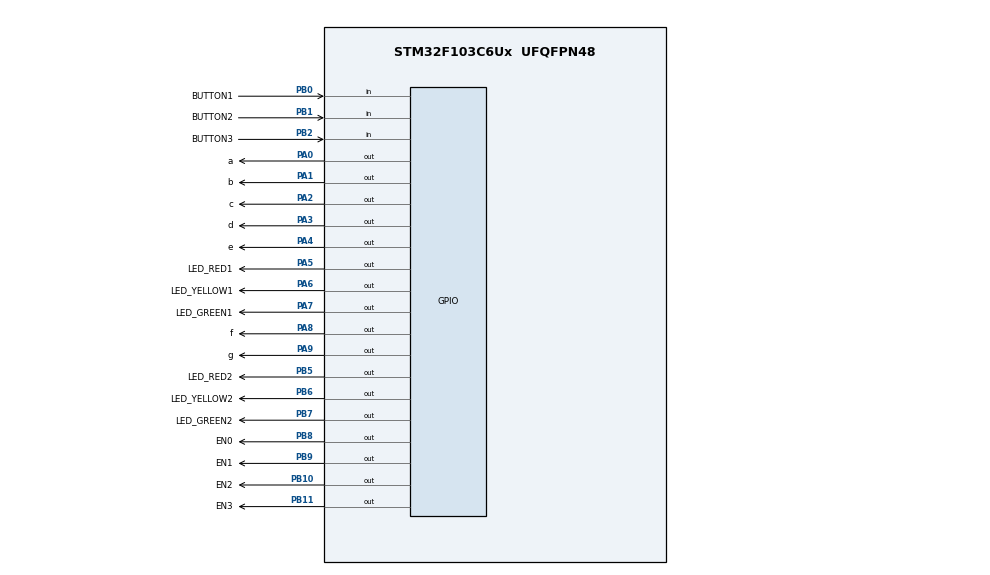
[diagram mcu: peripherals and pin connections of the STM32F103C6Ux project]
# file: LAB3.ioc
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Mcu.Family=STM32F1
Mcu.Name=STM32F103C6Ux
Mcu.Package=UFQFPN48
NVIC.PriorityGroup=NVIC_PRIORITYGROUP_4
NVIC.TIM2_IRQn=true\:15\:0\:false\:false\:true\:true\:true
PA0-WKUP.GPIO_Label=a
PA0-WKUP.Signal=GPIO_Output
PA1.GPIO_Label=b
PA1.Signal=GPIO_Output
PA13.Mode=Serial_Wire
PA13.Signal=SYS_JTMS-SWDIO
PA14.Mode=Serial_Wire
PA14.Signal=SYS_JTCK-SWCLK
PA2.GPIO_Label=c
PA2.Signal=GPIO_Output
PA3.GPIO_Label=d
PA3.Signal=GPIO_Output
PA4.GPIO_Label=e
PA4.Signal=GPIO_Output
PA5.GPIO_Label=LED_RED1
PA5.Signal=GPIO_Output
PA6.GPIO_Label=LED_YELLOW1
PA6.Signal=GPIO_Output
PA7.GPIO_Label=LED_GREEN1
PA7.Signal=GPIO_Output
PA8.GPIO_Label=f
PA8.Signal=GPIO_Output
PA9.GPIO_Label=g
PA9.Signal=GPIO_Output
PB0.GPIO_Label=BUTTON1
PB0.GPIO_PuPd=GPIO_PULLUP
PB0.Signal=GPIO_Input
PB1.GPIO_Label=BUTTON2
PB1.GPIO_PuPd=GPIO_PULLUP
PB1.Signal=GPIO_Input
PB10.GPIO_Label=EN2
PB10.Signal=GPIO_Output
PB11.GPIO_Label=EN3
PB11.Signal=GPIO_Output
PB2.GPIO_Label=BUTTON3
PB2.GPIO_PuPd=GPIO_PULLUP
PB2.Signal=GPIO_Input
PB5.GPIO_Label=LED_RED2
PB5.Signal=GPIO_Output
PB6.GPIO_Label=LED_YELLOW2
PB6.Signal=GPIO_Output
PB7.GPIO_Label=LED_GREEN2
PB7.Signal=GPIO_Output
PB8.GPIO_Label=EN0
PB8.Signal=GPIO_Output
PB9.GPIO_Label=EN1
PB9.Signal=GPIO_Output
ProjectManager.HeapSize=0x200
ProjectManager.StackSize=0x400
ProjectManager.TargetToolchain=STM32CubeIDE
RCC.APB1Freq_Value=8000000
RCC.APB2Freq_Value=8000000
TIM2.Period=9
TIM2.Prescaler=7999
VP_TIM2_VS_ClockSourceINT.Mode=Internal
board=custom

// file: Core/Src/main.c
/* USER CODE BEGIN Header */
/**
  ******************************************************************************
  * @file           : main.c
  * @brief          : Main program body
  ******************************************************************************
  * @attention
  *
  * <h2><center>&copy; Copyright (c) 2023 STMicroelectronics.
  * All rights reserved.</center></h2>
  *
  * This software component is licensed by ST under BSD 3-Clause license,
  * the "License"; You may not use this file except in compliance with the
  * License. You may obtain a copy of the License at:
  *                        opensource.org/licenses/BSD-3-Clause
  *
  ******************************************************************************
  */
/* USER CODE END Header */
#include "main.h"

/* USER CODE BEGIN Includes */
#include "global.h"
#include "button.h"
#include "fsm_automatic.h"
#include "fsm_manual.h"
/* USER CODE END Includes */

TIM_HandleTypeDef htim2;

void SystemClock_Config(void);
static void MX_GPIO_Init(void);
static void MX_TIM2_Init(void);

int main(void)
{

  /* MCU Configuration--------------------------------------------------------*/

  /* Reset of all peripherals, Initializes the Flash interface and the Systick. */
  HAL_Init();

  /* Configure the system clock */
  SystemClock_Config();

  /* Initialize all configured peripherals */
  MX_GPIO_Init();
  MX_TIM2_Init();
  /* USER CODE BEGIN 2 */
  HAL_TIM_Base_Start_IT(&htim2);
  /* USER CODE END 2 */

  /* Infinite loop */
  /* USER CODE BEGIN WHILE */
  setTimer(1,10);
  setTimer(2,10);
  setTimer(3,10);
  setTimer(4,10);
  setTimer(5,50);
  setTimer(6,10);
  setTimer(7,50);
  setTimer(8,10);
  setTimer(9,50);
  modeStatus = MODE1;
  while (1)
  {
    /* USER CODE END WHILE */
	  fsm_auto_run();
	  fsm_manual_run();
  }
}

void SystemClock_Config(void)
{
  RCC_OscInitTypeDef RCC_OscInitStruct = {0};
  RCC_ClkInitTypeDef RCC_ClkInitStruct = {0};

  /** Initializes the RCC Oscillators according to the specified parameters
  * in the RCC_OscInitTypeDef structure.
  */
  RCC_OscInitStruct.OscillatorType = RCC_OSCILLATORTYPE_HSI;
  RCC_OscInitStruct.HSIState = RCC_HSI_ON;
  RCC_OscInitStruct.HSICalibrationValue = RCC_HSICALIBRATION_DEFAULT;
  RCC_OscInitStruct.PLL.PLLState = RCC_PLL_NONE;
  if (HAL_RCC_OscConfig(&RCC_OscInitStruct) != HAL_OK)
  {
    Error_Handler();
  }
  /** Initializes the CPU, AHB and APB buses clocks
  */
  RCC_ClkInitStruct.ClockType = RCC_CLOCKTYPE_HCLK|RCC_CLOCKTYPE_SYSCLK
                              |RCC_CLOCKTYPE_PCLK1|RCC_CLOCKTYPE_PCLK2;
  RCC_ClkInitStruct.SYSCLKSource = RCC_SYSCLKSOURCE_HSI;
  RCC_ClkInitStruct.AHBCLKDivider = RCC_SYSCLK_DIV1;
  RCC_ClkInitStruct.APB1CLKDivider = RCC_HCLK_DIV1;
  RCC_ClkInitStruct.APB2CLKDivider = RCC_HCLK_DIV1;

  if (HAL_RCC_ClockConfig(&RCC_ClkInitStruct, FLASH_LATENCY_0) != HAL_OK)
  {
    Error_Handler();
  }
}

static void MX_TIM2_Init(void)
{

  TIM_ClockConfigTypeDef sClockSourceConfig = {0};
  TIM_MasterConfigTypeDef sMasterConfig = {0};

  htim2.Instance = TIM2;
  htim2.Init.Prescaler = 7999;
  htim2.Init.CounterMode = TIM_COUNTERMODE_UP;
  htim2.Init.Period = 9;
  htim2.Init.ClockDivision = TIM_CLOCKDIVISION_DIV1;
  htim2.Init.AutoReloadPreload = TIM_AUTORELOAD_PRELOAD_DISABLE;
  if (HAL_TIM_Base_Init(&htim2) != HAL_OK)
  {
    Error_Handler();
  }
  sClockSourceConfig.ClockSource = TIM_CLOCKSOURCE_INTERNAL;
  if (HAL_TIM_ConfigClockSource(&htim2, &sClockSourceConfig) != HAL_OK)
  {
    Error_Handler();
  }
  sMasterConfig.MasterOutputTrigger = TIM_TRGO_RESET;
  sMasterConfig.MasterSlaveMode = TIM_MASTERSLAVEMODE_DISABLE;
  if (HAL_TIMEx_MasterConfigSynchronization(&htim2, &sMasterConfig) != HAL_OK)
  {
    Error_Handler();
  }

}

static void MX_GPIO_Init(void)
{
  GPIO_InitTypeDef GPIO_InitStruct = {0};

  /* GPIO Ports Clock Enable */
  __HAL_RCC_GPIOA_CLK_ENABLE();
  __HAL_RCC_GPIOB_CLK_ENABLE();

  /*Configure GPIO pin Output Level */
  HAL_GPIO_WritePin(GPIOA, a_Pin|b_Pin|c_Pin|d_Pin
                          |e_Pin|LED_RED1_Pin|LED_YELLOW1_Pin|LED_GREEN1_Pin
                          |f_Pin|g_Pin, GPIO_PIN_RESET);

  /*Configure GPIO pin Output Level */
  HAL_GPIO_WritePin(GPIOB, EN2_Pin|EN3_Pin|LED_RED2_Pin|LED_YELLOW2_Pin
                          |LED_GREEN2_Pin|EN0_Pin|EN1_Pin, GPIO_PIN_RESET);

  /*Configure GPIO pins : a_Pin b_Pin c_Pin d_Pin
                           e_Pin LED_RED1_Pin LED_YELLOW1_Pin LED_GREEN1_Pin
                           f_Pin g_Pin */
  GPIO_InitStruct.Pin = a_Pin|b_Pin|c_Pin|d_Pin
                          |e_Pin|LED_RED1_Pin|LED_YELLOW1_Pin|LED_GREEN1_Pin
                          |f_Pin|g_Pin;
  GPIO_InitStruct.Mode = GPIO_MODE_OUTPUT_PP;
  GPIO_InitStruct.Pull = GPIO_NOPULL;
  GPIO_InitStruct.Speed = GPIO_SPEED_FREQ_LOW;
  HAL_GPIO_Init(GPIOA, &GPIO_InitStruct);

  /*Configure GPIO pins : BUTTON1_Pin BUTTON2_Pin BUTTON3_Pin */
  GPIO_InitStruct.Pin = BUTTON1_Pin|BUTTON2_Pin|BUTTON3_Pin;
  GPIO_InitStruct.Mode = GPIO_MODE_INPUT;
  GPIO_InitStruct.Pull = GPIO_PULLUP;
  HAL_GPIO_Init(GPIOB, &GPIO_InitStruct);

  /*Configure GPIO pins : EN2_Pin EN3_Pin LED_RED2_Pin LED_YELLOW2_Pin
                           LED_GREEN2_Pin EN0_Pin EN1_Pin */
  GPIO_InitStruct.Pin = EN2_Pin|EN3_Pin|LED_RED2_Pin|LED_YELLOW2_Pin
                          |LED_GREEN2_Pin|EN0_Pin|EN1_Pin;
  GPIO_InitStruct.Mode = GPIO_MODE_OUTPUT_PP;
  GPIO_InitStruct.Pull = GPIO_NOPULL;
  GPIO_InitStruct.Speed = GPIO_SPEED_FREQ_LOW;
  HAL_GPIO_Init(GPIOB, &GPIO_InitStruct);

}

/* USER CODE BEGIN 4 */
void HAL_TIM_PeriodElapsedCallback(TIM_HandleTypeDef *htim){
	timerRun(0);
	timerRun(1);
	timerRun(2);
	timerRun(3);
	timerRun(4);
	timerRun(5);
	timerRun(6);
	timerRun(7);
	timerRun(8);
	timerRun(9);
	getKeyInput(0);
	getKeyInput(1);
	getKeyInput(2);
}

/* USER CODE END 4 */

void Error_Handler(void)
{
  __disable_irq();
  while (1)
  {
  }
}

/************************ (C) COPYRIGHT STMicroelectronics *****END OF FILE****/
